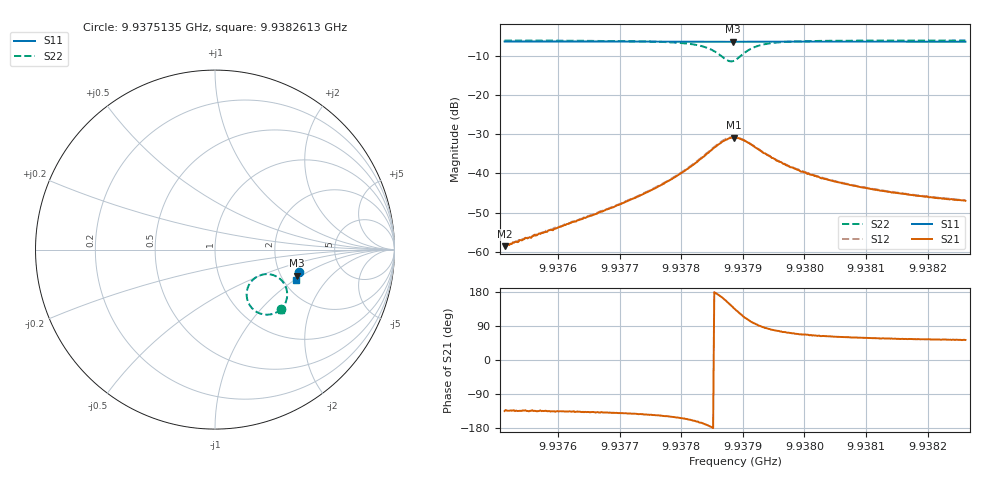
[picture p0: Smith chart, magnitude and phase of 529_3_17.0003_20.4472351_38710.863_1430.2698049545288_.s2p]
#  HZ  S  RI  R  50.00
! Rohde & Schwarz Vector Network Analyzer
! Rohde-Schwarz,ZNB20-2Port,1311601062101988,3.16
! Created: UTC 3/20/2024, 11:15:50 PM
! freq[Hz]  re:S11  im:S11  re:S21  im:S21  re:S12  im:S12  re:S22  im:S22
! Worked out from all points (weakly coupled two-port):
!   401 points, 9.9375135 GHz to 9.9382613 GHz, reference 50 ohm
!   highest |S21| = -30.86 dB at 9.9378856 GHz (marker M1); lowest = -58.5 dB at 9.9375135 GHz (marker M2)
!   lowest |S11| = -6.4 dB at 9.9378837 GHz (marker M3), VSWR 2.83, Z = 121 - j45.6 ohm
!   |S11| at or under -10 dB: nowhere
!   |S22| runs from -11.4 to -6.1 dB; largest |S21 - S12| = 0.0013
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9.93751354e9  0.4669 -0.1222  -0.000829 -0.000843  -0.000855 -0.000882  0.3695 -0.3313
9.93752101e9  0.4668 -0.1229  -0.000851 -0.000879  -0.000876 -0.000869  0.3688 -0.3319
9.93763879e9  0.464 -0.1308  -0.00194 -0.00177  -0.00194 -0.00179  0.3536 -0.3432
9.93770422e9  0.4622 -0.1351  -0.0032 -0.00265  -0.00331 -0.00265  0.339 -0.3515
9.93776404e9  0.4607 -0.1393  -0.00575 -0.00384  -0.0059 -0.00381  0.3143 -0.36
9.93780517e9  0.4592 -0.1421  -0.00968 -0.00461  -0.00999 -0.00449  0.2794 -0.3623
9.93784069e9  0.4575 -0.1444  -0.0173 -0.0029  -0.0178 -0.00246  0.2201 -0.3392
9.93785378e9  0.4567 -0.1451  -0.0214 0.000321  -0.0217 0.000909  0.1921 -0.3076
9.93786686e9  0.4557 -0.1451  -0.0246 0.00674  -0.0249 0.0076  0.1761 -0.2515
9.93787621e9  0.4553 -0.145  -0.0243 0.0134  -0.0245 0.0144  0.1874 -0.2005
9.93788369e9  0.4552 -0.1448  -0.0218 0.0183  -0.0216 0.0194  0.2148 -0.1646
9.93788556e9  0.4554 -0.1449  -0.0208 0.0197  -0.0207 0.0205  0.2239 -0.1573
9.93788743e9  0.4553 -0.1448  -0.0199 0.0204  -0.0196 0.0216  0.2335 -0.1513
9.93789677e9  0.4559 -0.1447  -0.014 0.0236  -0.0134 0.0244  0.2852 -0.1366
9.93790986e9  0.4563 -0.1455  -0.00624 0.0236  -0.00558 0.024  0.3448 -0.1513
9.93793042e9  0.4568 -0.1472  0.000568 0.0191  0.00114 0.0191  0.3893 -0.1971
9.93795286e9  0.4565 -0.1492  0.00315 0.0148  0.00344 0.0147  0.4016 -0.2364
9.93797342e9  0.4562 -0.1507  0.00383 0.012  0.00409 0.0119  0.4021 -0.2601
9.93801268e9  0.4554 -0.1536  0.0041 0.00866  0.00427 0.00877  0.3964 -0.2872
9.93807437e9  0.4537 -0.1579  0.00359 0.00614  0.00375 0.00616  0.3865 -0.3088
9.93813793e9  0.4521 -0.1622  0.00324 0.00487  0.00334 0.00481  0.3785 -0.3216
9.93826132e9  0.4486 -0.1699  0.00271 0.00357  0.00282 0.00359  0.3663 -0.3363
